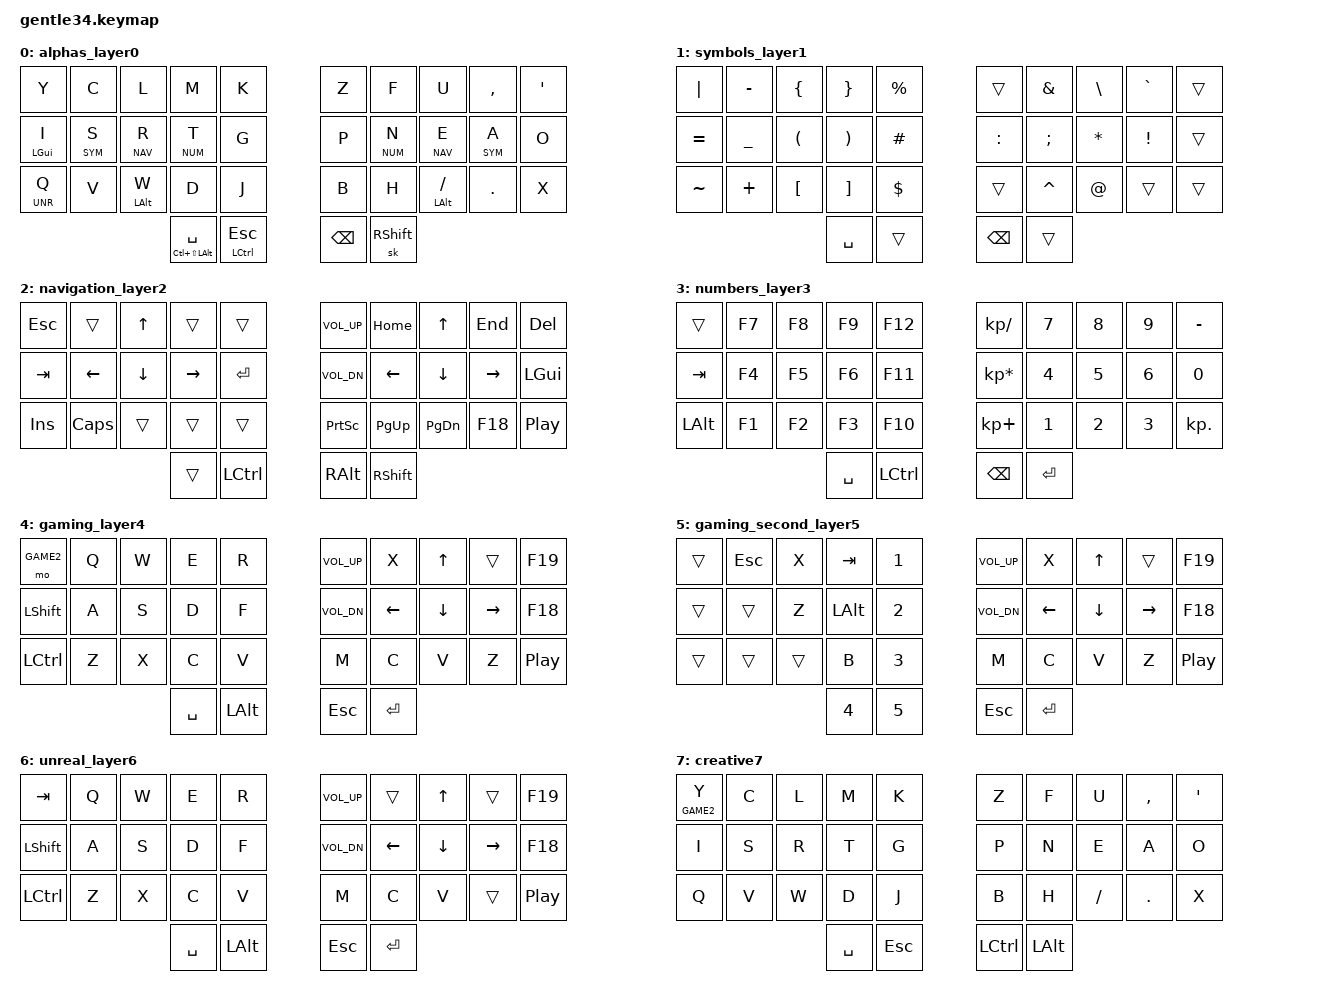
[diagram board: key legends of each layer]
/*
 * Copyright (c) 2020 The ZMK Contributors
 *
 * SPDX-License-Identifier: MIT
 */

#include <behaviors.dtsi>
#include <dt-bindings/zmk/keys.h>
#include <dt-bindings/zmk/bt.h>


&mt {
    tapping-term-ms = <170>;
    flavor = "tap-preferred";
};
&sk {
     release-after-ms = <2000>;
     quick-release;
};

/* Layers */
#define AL 0
#define SYM 1
#define NAV 2
#define NUM 3
#define GAME 4
#define GAME2 5
#define UNR 6
#define CRE 7

/ {

        behaviors {
                hrl: homerow_layers {
                        compatible = "zmk,behavior-hold-tap";
                        label = "HOMEROW_LAYERS";
                        #binding-cells = <2>;
                        tapping-term-ms = <170>;
                        quick_tap_ms = <0>;
                        flavor = "tap-preferred";
                        bindings = <&mo>, <&kp>;
                };
        };

        macros {
                OSsym: one_shot_system_layer {
                        compatible = "zmk,behavior-macro";
                        label = "MACRO1";
                        #binding-cells = <0>;
                        bindings = <&sl SYM>;
                };
        };

        combos { // NOTE: key-positions are 0 indexed
                compatible = "zmk,combos";

								// ALPHA LAYER COMBOS
                combo_layer_to_AL {
                        timeout-ms = <30>;
                        key-positions = <26 27 28>; // keys < h/. >
                        bindings = <&to AL>; 
                };
								combo_OSsym_left {
												timeout-ms = <30>;
												key-positions = <11 12>; // keys < sr >
												bindings = <&OSsym>;
												layers = <AL>;
								};
								combo_OSsym_right {
												timeout-ms = <30>;
												key-positions = <17 18>; // keys < ea >
												bindings = <&OSsym>;
												layers = <AL>;
								};
                combo_enter_left {
                        timeout-ms = <30>;
                        key-positions = <12 13>; // keys < rt >
                        bindings = <&kp ENTER>;
                        layers = <AL>;
                };
                combo_enter_right {
                        timeout-ms = <30>;
                        key-positions = <16 17>; // keys < ne >
                        bindings = <&kp ENTER>;
                        layers = <AL>;
                };
								combo_tab_left {
												timeout-ms = <30>;
												key-positions = <1 2>; // keys < cl >
												bindings = <&kp TAB>;
												layers = <AL>;
								};
								combo_tab_right {
												timeout-ms = <30>;
												key-positions = <7 8>; //keys < u, >
												bindings = <&kp TAB>;
												layers = <AL>;
								};
								combo_del {
												timeout-ms = <30>;
												key-positions = <8 9>; //keys < ,' >
												bindings = <&kp DEL>;
												layers = <AL CRE>;
								};

								// CREATIVE COMBOS
								combo_layer_to_creative {
												timeout-ms = <30>;
												key-positions = <6 7 8>; // keys < fu, >
												bindings = <&to CRE>;
												layers = <AL>;
								};
								combo_cre_shift{
												timeout-ms = <30>;
												key-positions = <26 27>; //keys < h/ >
												bindings = <&sk RSHFT>;
												layers = <CRE>;
								};
								combo_cre_space{
												timeout-ms = <30>;
												key-positions = <6 7>; //keys < fu >
												bindings = <&kp SPACE>;
												layers = <CRE>;
								};
								combo_cre_esc{
												timeout-ms = <30>;
												key-positions = <17 18>; //keys < ea >
												bindings = <&kp ESC>;
												layers = <CRE>;
								};
								combo_cre_ctrl_alt{
												timeout-ms = <30>;
												key-positions = <16 17>; //keys < ne >
												bindings = <&kp LC(RALT)>;
												layers = <CRE>;
								};
								combo_cre_enter{
												timeout-ms = <30>;
												key-positions = <15 16>; //keys < pn >
												bindings = <&kp ENTER>;
												layers = <CRE>;
								};

								// GAMING COMBOS
                combo_layer_to_gaming {
                        timeout-ms = <30>;
                        key-positions = <27 28 29>; // keys < /.x >
                        bindings = <&to GAME>;
                        layers = <AL>;
                };
								combo_gaming_esc{
												timeout-ms = <40>;
												key-positions = <30 31>; //keys < space ctrl >
												bindings = <&kp TAB>;
												layers = <GAME>;
								};

								// SPECIALTY COMBOS
                combo_BT_profile_clear {
                        timeout-ms = <30>;
                        key-positions = <9 29>; // keys < 'x >
                        bindings = <&bt BT_CLR_ALL>;
                        layers = <NAV>;
                };
        };
};

/ {
        keymap {
                compatible = "zmk,keymap";

                alphas_layer0 {
                bindings = <
        &kp Y           &kp C           &kp L           &kp M           &kp K                   &kp Z           &kp F           &kp U           &kp COMMA       &kp APOS      
        &mt LGUI I      &hrl SYM S      &hrl NAV R      &hrl NUM T      &kp G                   &kp P           &hrl NUM N      &hrl NAV E      &hrl SYM A      &kp O     
        &hrl UNR Q      &kp V           &mt LALT W      &kp D           &kp J                   &kp B           &kp H           &mt LALT FSLH   &kp DOT         &kp X        
                                                &mt LC(LS(LALT)) SPACE  &mt LCTRL ESC           &kp BSPC        &sk RSHFT       
                        >;
                };
                
                symbols_layer1 {
                bindings = <
        &kp PIPE        &kp MINUS       &kp LBRC        &kp RBRC        &kp PRCNT               &trans          &kp AMPS        &kp BSLH        &kp GRAVE       &trans         
        &kp EQUAL       &kp UNDER       &kp LPAR        &kp RPAR        &kp HASH                &kp COLON       &kp SEMI        &kp STAR        &kp EXCL        &trans 
        &kp TILDE       &kp PLUS        &kp LBKT        &kp RBKT        &kp DLLR                &trans          &kp CARET       &kp AT          &trans          &trans         
                                                        &kp SPACE       &trans                  &kp BSPC        &trans
                        >;
                };

                navigation_layer2 {
                bindings = <
        &kp ESC         &trans          &kp UP          &trans          &trans                  &kp C_VOL_UP    &kp HOME        &kp UP          &kp END         &kp DEL        
        &kp TAB         &kp LEFT        &kp DOWN        &kp RIGHT       &kp ENTER               &kp C_VOL_DN    &kp LEFT        &kp DOWN        &kp RIGHT       &kp LGUI    
        &kp INS         &kp CAPS        &trans          &trans          &trans                  &kp PSCRN       &kp PG_UP       &kp PG_DN       &kp F18         &kp C_PLAY_PAUSE
                                                        &trans          &kp LCTRL               &kp RALT        &kp RSHFT       
                        >;
                };
                
                numbers_layer3 {
                bindings = <
        &trans          &kp F7          &kp F8          &kp F9          &kp F12                 &kp KP_SLASH    &kp N7          &kp N8          &kp N9          &kp MINUS      
        &kp TAB         &kp F4          &kp F5          &kp F6          &kp F11                 &kp KP_ASTERISK &kp N4          &kp N5          &kp N6          &kp N0         
        &kp LALT        &kp F1          &kp F2          &kp F3          &kp F10                 &kp KP_PLUS     &kp N1          &kp N2          &kp N3          &kp KP_DOT     
                                                        &kp SPACE       &kp LCTRL               &kp BSPC        &kp ENTER
                        >;
                };
                
                gaming_layer4 {
                bindings = <
        &mo GAME2       &kp Q           &kp W           &kp E           &kp R                   &kp C_VOL_UP    &kp X           &kp UP          &trans          &kp F19        
        &kp LSHFT       &kp A           &kp S           &kp D           &kp F                   &kp C_VOL_DN    &kp LEFT        &kp DOWN        &kp RIGHT       &kp F18        
        &kp LCTRL       &kp Z           &kp X           &kp C           &kp V                   &kp M           &kp C           &kp V           &kp Z           &kp C_PP       
                                                        &kp SPACE       &kp LALT                &kp ESC         &kp ENTER       
                        >;
                };

                gaming_second_layer5 {
                bindings = <
        &trans          &kp ESC         &kp X           &kp TAB         &kp N1                  &kp C_VOL_UP    &kp X           &kp UP          &trans          &kp F19        
        &trans          &trans          &kp Z           &kp LALT        &kp N2                  &kp C_VOL_DN    &kp LEFT        &kp DOWN        &kp RIGHT       &kp F18        
        &trans          &trans          &trans          &kp B           &kp N3                  &kp M           &kp C           &kp V           &kp Z           &kp C_PP       
                                                        &kp N4          &kp N5                  &kp ESC         &kp ENTER       
                        >;
                };

                unreal_layer6 {
                bindings = <
        &kp TAB         &kp Q           &kp W           &kp E           &kp R                   &kp C_VOL_UP    &trans          &kp UP          &trans          &kp F19        
        &kp LSHFT       &kp A           &kp S           &kp D           &kp F                   &kp C_VOL_DN    &kp LEFT        &kp DOWN        &kp RIGHT       &kp F18        
        &kp LCTRL       &kp Z           &kp X           &kp C           &kp V                   &kp M           &kp C           &kp V           &trans          &kp C_PP       
                                                        &kp SPACE       &kp LALT                &kp ESC         &kp ENTER       
                        >;
                };
								
                creative7 {
                bindings = <
        &hrl GAME2 Y    &kp C           &kp L           &kp M           &kp K                   &kp Z           &kp F           &kp U           &kp COMMA       &kp APOS      
        &kp I      			&kp S      			&kp R      			&kp T      			&kp G                   &kp P           &kp N      			&kp E      			&kp A      			&kp O     
        &kp Q      			&kp V           &kp W      			&kp D           &kp J                   &kp B           &kp H           &kp FSLH   			&kp DOT         &kp X        
                                                				&kp SPACE  			&kp ESC           			&kp LCTRL       &kp LALT       
                        >;
                };

        };
};
